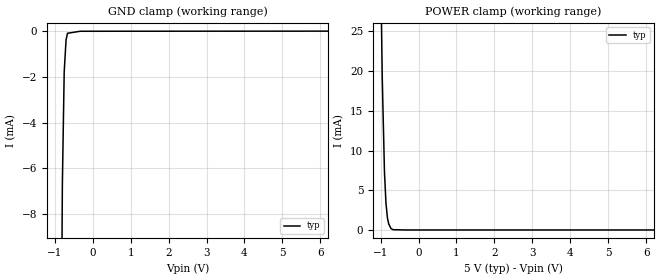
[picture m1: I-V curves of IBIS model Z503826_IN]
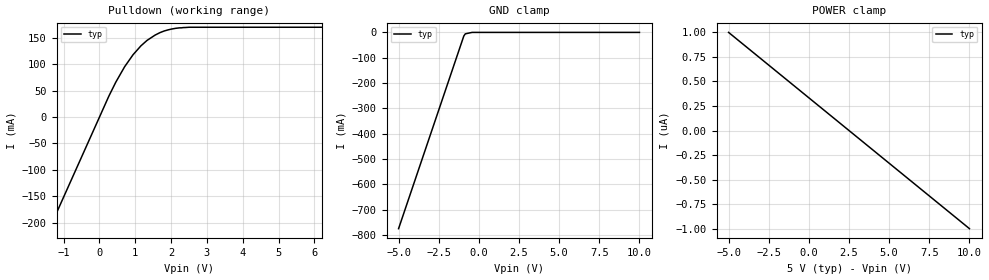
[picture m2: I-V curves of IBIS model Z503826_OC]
| YOU ARE ONLY AUTHORIZED TO USE THIS SOFTWARE
| ACCORDING TO LICENSOR'S LICENSE RESTRICTIONS.
[IBIS Ver] 3.1
[File Name] mc74act05n.ibs
[File Rev] 2.0
[Source] Measured and created by ICX Technology
[Date] Friday 7/14/00 9:08:01 AM
[Copyright]
| (C) COPYRIGHT 1993-2000
| MENTOR GRAPHICS CORPORATION
| ICX STANDARD LIBRARY, ICX PROJECT MODELING,
| ICX CUSTOM MODELING, ICX VENDOR MODEL
| ALL RIGHTS RESERVED.
| THE FOLLOWING ARE TRADEMARKS OR SERVICE MARKS OF
| MENTOR GRAPHICS CORPORATION:ICX (R), ICX STANDARD
| LIBRARY(R), ICX PROJECT MODELING(R), ICX CUSTOM
| MODELING(R), qualityIBIS(TM), MODELVIEWER(TM),
| AND MODELEDITOR(TM)
| ALL COPIES OF SOFTWARE, INCLUDING BUT NOT LIMITED TO
| ANY MODIFICATIONS, ENHANCEMENTS OR DERIVATIVE WORKS,
| MUST CONTAIN ALL MENTOR GRAPHICS CORPORATION'S
| NOTICES AND LEGENDS, INCLUDING THOSE EMBEDDED IN
| SOFTWARE AND THOSE AFFIXED TO SOFTWARE MEDIUM
| AND CONTAINER, AS RECEIVED FROM MENTOR GRAPHICS
| CORPORATION.
|  ZAP Model Builder 2.7
[Component] MC74ACT05N
[Manufacturer] OnSemiconductor
[Package]
| variable   typ   min   max
R_pkg  .21ohms NA NA
L_pkg  4.543nH NA NA
C_pkg  1.059pF NA NA
[Pin] signal_name  model_name  R_pin  L_pin C_pin
1 A Z503826_IN .22 6.757n 1.432p
2 Y Z503826_OC .212 4.757n 1.142p
3 A Z503826_IN .204 3.257n .852p
4 Y Z503826_OC .196 2.257n .562p
5 A Z503826_IN .204 3.257n .852p
6 Y Z503826_OC .212 4.757n 1.142p
7 GND GND .22 6.757n 1.432p
8 Y Z503826_OC .22 6.757n 1.432p
9 A Z503826_IN .212 4.757n 1.142p
10 Y Z503826_OC .204 3.257n .852p
11 A Z503826_IN .196 2.257n .562p
12 Y Z503826_OC .204 3.257n .852p
13 A Z503826_IN .212 4.757n 1.142p
14 VCC POWER .22 6.757n 1.432p
| Models and submodels in the file (2): Z503826_IN (Input), Z503826_OC (Open_sink)
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| (C) COPYRIGHT 1993-2000
| MENTOR GRAPHICS CORPORATION
| ICX STANDARD LIBRARY, ICX PROJECT MODELING,
| ICX CUSTOM MODELING, ICX VENDOR MODEL
| ALL RIGHTS RESERVED.
| THE FOLLOWING ARE TRADEMARKS OR SERVICE MARKS OF
| MENTOR GRAPHICS CORPORATION:ICX (R), ICX STANDARD
| LIBRARY(R), ICX PROJECT MODELING(R), ICX CUSTOM
| MODELING(R), qualityIBIS(TM), MODELVIEWER(TM),
| AND MODELEDITOR(TM)
| ALL COPIES OF SOFTWARE, INCLUDING BUT NOT LIMITED TO
| ANY MODIFICATIONS, ENHANCEMENTS OR DERIVATIVE WORKS,
| MUST CONTAIN ALL MENTOR GRAPHICS CORPORATION'S
| NOTICES AND LEGENDS, INCLUDING THOSE EMBEDDED IN
| SOFTWARE AND THOSE AFFIXED TO SOFTWARE MEDIUM
| AND CONTAINER, AS RECEIVED FROM MENTOR GRAPHICS
| CORPORATION.
| Model Application Version 1.89 2/18/99.
[Model] Z503826_IN
Model_type Input
Vinl = 800.0mV
Vinh = 2.000V
C_comp 4.000pF NA NA
| variable typ   min   max
[Voltage Range] 5.000V NA NA
[GND Clamp Reference] 0.000V NA NA
[POWER Clamp Reference] 5.000V NA NA
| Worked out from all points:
|   GND clamp passes 1 mA (typ) near -0.72 V on its own axis
|   POWER clamp passes 1 mA (typ) near -0.80 V on its own axis
[GND Clamp]
-5V       -1.136A    NA         NA
-800.1mV  -6.693mA   NA         NA
-752mV    -1.787mA   NA         NA
-703.1mV  -378.4uA   NA         NA
-664.6mV  -83.22uA   NA         NA
-332.3mV  5.812uA    NA         NA
10V       13.79uA    NA         NA
[POWER Clamp]
-5V       1.416A     NA         NA
-957mV    19.26mA    NA         NA
-898mV    7.279mA    NA         NA
-859mV    3.401mA    NA         NA
-820mV    1.525mA    NA         NA
-786mV    768.9uA    NA         NA
-729mV    199.3uA    NA         NA
-674mV    37.47uA    NA         NA
-337mV    0A         NA         NA
10V       0A         NA         NA
| (C) COPYRIGHT 1993-2000
| MENTOR GRAPHICS CORPORATION
| ICX STANDARD LIBRARY, ICX PROJECT MODELING,
| ICX CUSTOM MODELING, ICX VENDOR MODEL
| ALL RIGHTS RESERVED.
| THE FOLLOWING ARE TRADEMARKS OR SERVICE MARKS OF
| MENTOR GRAPHICS CORPORATION:ICX (R), ICX STANDARD
| LIBRARY(R), ICX PROJECT MODELING(R), ICX CUSTOM
| MODELING(R), qualityIBIS(TM), MODELVIEWER(TM),
| AND MODELEDITOR(TM)
| ALL COPIES OF SOFTWARE, INCLUDING BUT NOT LIMITED TO
| ANY MODIFICATIONS, ENHANCEMENTS OR DERIVATIVE WORKS,
| MUST CONTAIN ALL MENTOR GRAPHICS CORPORATION'S
| NOTICES AND LEGENDS, INCLUDING THOSE EMBEDDED IN
| SOFTWARE AND THOSE AFFIXED TO SOFTWARE MEDIUM
| AND CONTAINER, AS RECEIVED FROM MENTOR GRAPHICS
| CORPORATION.
| Model Application Version 1.89 2/18/99.
[Model] Z503826_OC
Model_type Open_sink
Vref=3.500V
Rref=250.0ohms
Cref=50.00pF
Vmeas=1.500V
C_comp 8.000pF NA NA
| variable typ   min   max
[Voltage Range] 5.000V NA NA
[POWER Clamp Reference] 5.000V NA NA
[Pullup Reference] 5.000V NA NA
[Pulldown Reference] 0.000V NA NA
[GND Clamp Reference] 0.000V NA NA
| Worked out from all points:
|   slope of the pulldown table from 0 to 0.75 V, typ, clamps not added: 7.51 ohm
[GND Clamp]
-5V       -774.3mA   NA         NA
-937.4mV  -14.2mA    NA         NA
-844.4mV  -5.677mA   NA         NA
-422.2mV  0A         NA         NA
10V       0A         NA         NA
[Pulldown]
-5V       -756.6mA   NA         NA
263.7mV   39.97mA    NA         NA
454.3mV   65.96mA    NA         NA
703.2mV   95.47mA    NA         NA
937.6mV   118.1mA    NA         NA
1.157V    134.9mA    NA         NA
1.328V    145.2mA    NA         NA
1.554V    155.3mA    NA         NA
1.806V    163mA      NA         NA
2.12V     168mA      NA         NA
2.5V      170.1mA    NA         NA
10V       170.1mA    NA         NA
[POWER Clamp]
-5V       1uA        NA         NA
10V       -1uA       NA         NA
[Ramp]
| variable typ min max
dV/dt_r 2.923/3.695n NA NA
dV/dt_f 2.923/399.4p NA NA
R_load = 250.0Ohms
